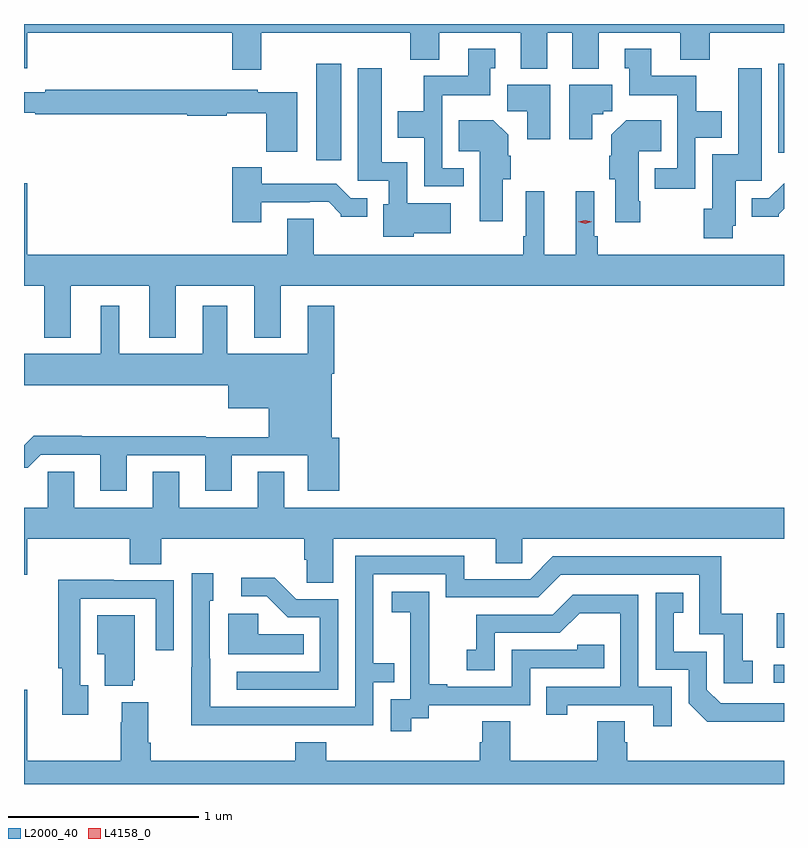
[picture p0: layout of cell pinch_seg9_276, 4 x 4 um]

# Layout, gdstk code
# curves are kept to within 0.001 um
import gdstk
lib = gdstk.Library(unit=1e-6, precision=1e-09)
def R(c, l, rs):  # rectangles x0, y0, x1, y1
    for r in rs: c.add(gdstk.rectangle(r[:2], r[2:], *l))
def P(c, l, *ps):  # polygons
    for p in ps: c.add(gdstk.Polygon(p, *l))
L2000_40 = (2000, 40)
L4158_0 = (4158, 0)

pinch_seg9_276 = lib.new_cell('pinch_seg9_276')
R(pinch_seg9_276, L2000_40, [(408.861,1167.69,408.916,1167.786), (408.878,1167.875,408.916,1168.057), (406.454,1170.441,406.585,1170.949), (408.887,1170.48,408.916,1170.949)])
P(pinch_seg9_276, L2000_40, [(406.165,1171.112),(406.949,1171.112),(406.949,1170.971),(407.101,1170.971),(407.101,1171.112),(407.531,1171.112),(407.531,1170.923),(407.671,1170.923),(407.671,1171.112),(407.801,1171.112),(407.801,1170.923),(407.941,1170.923),(407.941,1171.112),(408.371,1171.112),(408.371,1170.971),(408.524,1170.971),(408.524,1171.112),(408.916,1171.112),(408.916,1171.158),(404.916,1171.158),(404.916,1170.924),(404.932,1170.924),(404.932,1171.112),(406.013,1171.112),(406.013,1170.918),(406.165,1170.918)],
  [(407.23,1170.399),(407.118,1170.399),(407.118,1170.782),(407.371,1170.782),(407.371,1170.924),(407.395,1170.924),(407.395,1171.027),(407.255,1171.027),(407.255,1170.886),(407.02,1170.886),(407.02,1170.7),(406.883,1170.7),(406.883,1170.56),(407.022,1170.56),(407.022,1170.303),(407.23,1170.303)],
  [(408.45,1170.56),(408.589,1170.56),(408.589,1170.7),(408.453,1170.7),(408.453,1170.886),(408.217,1170.886),(408.217,1171.027),(408.077,1171.027),(408.077,1170.924),(408.101,1170.924),(408.101,1170.782),(408.354,1170.782),(408.354,1170.399),(408.237,1170.399),(408.237,1170.291),(408.45,1170.291)],
  [(408.645,1170.096),(408.661,1170.096),(408.661,1170.333),(408.799,1170.333),(408.799,1170.925),(408.674,1170.925),(408.674,1170.472),(408.539,1170.472),(408.539,1170.186),(408.493,1170.186),(408.493,1170.03),(408.645,1170.03)],
  [(406.968,1170.056),(407.161,1170.056),(407.161,1170.214),(406.932,1170.214),(406.932,1170.43),(406.798,1170.43),(406.798,1170.925),(406.673,1170.925),(406.673,1170.333),(406.836,1170.333),(406.836,1170.21),(406.808,1170.21),(406.808,1170.038),(406.968,1170.038)],
  [(407.908,1170.683),(407.964,1170.683),(407.964,1170.7),(408.013,1170.7),(408.013,1170.838),(407.786,1170.838),(407.786,1170.552),(407.908,1170.552)],
  [(407.686,1170.838),(407.459,1170.838),(407.459,1170.7),(407.564,1170.7),(407.564,1170.552),(407.686,1170.552)],
  [(406.354,1170.799),(406.146,1170.799),(406.146,1170.811),(405.028,1170.811),(405.028,1170.798),(404.916,1170.798),(404.916,1170.69),(404.974,1170.69),(404.974,1170.682),(405.774,1170.682),(405.774,1170.674),(405.984,1170.674),(405.984,1170.689),(406.192,1170.689),(406.192,1170.485),(406.354,1170.485)],
  [(408.159,1170.226),(408.151,1170.226),(408.151,1170.488),(408.269,1170.488),(408.269,1170.652),(408.086,1170.652),(408.008,1170.574),(408.008,1170.464),(407.996,1170.464),(407.996,1170.342),(408.029,1170.342),(408.029,1170.114),(408.159,1170.114)],
  [(407.437,1170.342),(407.477,1170.342),(407.477,1170.464),(407.464,1170.464),(407.464,1170.574),(407.386,1170.652),(407.203,1170.652),(407.203,1170.488),(407.315,1170.488),(407.315,1170.12),(407.437,1170.12)],
  [(406.165,1170.219),(406.421,1170.219),(406.421,1170.222),(406.52,1170.222),(406.584,1170.158),(406.584,1170.143),(406.723,1170.143),(406.723,1170.24),(406.635,1170.24),(406.559,1170.316),(406.168,1170.316),(406.168,1170.403),(406.013,1170.403),(406.013,1170.114),(406.165,1170.114)],
  [(405.163,1169.78),(405.575,1169.78),(405.575,1169.507),(405.715,1169.507),(405.715,1169.78),(406.127,1169.78),(406.127,1169.507),(406.267,1169.507),(406.267,1169.78),(408.916,1169.78),(408.916,1169.944),(407.936,1169.944),(407.936,1170.04),(407.916,1170.04),(407.916,1170.277),(407.819,1170.277),(407.819,1169.944),(407.653,1169.944),(407.653,1170.277),(407.556,1170.277),(407.556,1170.04),(407.544,1170.04),(407.544,1169.944),(406.441,1169.944),(406.441,1170.134),(406.301,1170.134),(406.301,1169.944),(404.932,1169.944),(404.932,1170.319),(404.916,1170.319),(404.916,1169.78),(405.023,1169.78),(405.023,1169.507),(405.163,1169.507)],
  [(408.888,1170.158),(408.916,1170.186),(408.916,1170.319),(408.837,1170.24),(408.746,1170.24),(408.746,1170.143),(408.888,1170.143)],
  [(405.457,1168.887),(405.869,1168.887),(405.869,1168.701),(406.009,1168.701),(406.009,1168.887),(406.409,1168.887),(406.409,1168.701),(406.574,1168.701),(406.574,1168.98),(406.537,1168.98),(406.537,1169.318),(406.55,1169.318),(406.55,1169.674),(406.409,1169.674),(406.409,1169.422),(405.985,1169.422),(405.985,1169.674),(405.857,1169.674),(405.857,1169.422),(405.418,1169.422),(405.418,1169.674),(405.32,1169.674),(405.32,1169.422),(404.916,1169.422),(404.916,1169.258),(405.992,1169.258),(405.992,1169.135),(406.205,1169.135),(406.205,1168.984),(405.873,1168.984),(405.873,1168.988),(405.221,1168.988),(405.221,1168.991),(404.966,1168.991),(404.916,1168.941),(404.916,1168.823),(404.936,1168.823),(405.003,1168.89),(405.317,1168.89),(405.317,1168.701),(405.457,1168.701)],
  [(406.543,1168.448),(407.399,1168.448),(407.399,1168.321),(407.538,1168.321),(407.538,1168.448),(408.916,1168.448),(408.916,1168.612),(406.285,1168.612),(406.285,1168.802),(406.145,1168.802),(406.145,1168.612),(405.733,1168.612),(405.733,1168.802),(405.593,1168.802),(405.593,1168.612),(405.181,1168.612),(405.181,1168.802),(405.042,1168.802),(405.042,1168.612),(404.916,1168.612),(404.916,1168.26),(404.932,1168.26),(404.932,1168.448),(405.473,1168.448),(405.473,1168.315),(405.638,1168.315),(405.638,1168.448),(406.391,1168.448),(406.391,1168.339),(406.404,1168.339),(406.404,1168.216),(406.543,1168.216)],
  [(406.259,1167.468),(406.755,1167.468),(406.755,1167.693),(406.865,1167.693),(406.865,1167.794),(406.755,1167.794),(406.755,1168.263),(407.136,1168.263),(407.136,1168.14),(407.622,1168.14),(407.742,1168.26),(408.471,1168.26),(408.471,1167.945),(408.6,1167.945),(408.6,1167.687),(408.751,1167.687),(408.751,1167.807),(408.698,1167.807),(408.698,1168.054),(408.587,1168.054),(408.587,1168.356),(407.7,1168.356),(407.58,1168.236),(407.233,1168.236),(407.233,1168.359),(406.659,1168.359),(406.659,1167.564),(405.895,1167.564),(405.894,1168.122),(405.913,1168.122),(405.913,1168.267),(405.798,1168.267),(405.798,1167.773),(405.796,1167.773),(405.796,1167.467)],
  [(406.569,1168.131),(406.35,1168.131),(406.237,1168.244),(406.059,1168.244),(406.059,1168.146),(406.193,1168.146),(406.304,1168.035),(406.473,1168.035),(406.473,1167.75),(406.035,1167.75),(406.035,1167.654),(406.569,1167.654)],
  [(405.253,1167.678),(405.213,1167.678),(405.213,1168.134),(405.609,1168.134),(405.609,1167.861),(405.705,1167.861),(405.705,1168.23),(405.389,1168.23),(405.389,1168.232),(405.097,1168.232),(405.097,1167.766),(405.116,1167.766),(405.116,1167.522),(405.253,1167.522)],
  [(406.954,1167.505),(407.046,1167.505),(407.046,1167.573),(407.58,1167.573),(407.58,1167.768),(407.969,1167.768),(407.969,1167.891),(407.829,1167.891),(407.829,1167.864),(407.484,1167.864),(407.484,1167.669),(407.143,1167.669),(407.143,1167.682),(407.048,1167.682),(407.048,1167.965),(407.049,1167.965),(407.049,1168.171),(406.851,1168.171),(406.851,1168.061),(406.949,1168.061),(406.949,1167.833),(406.95,1167.833),(406.95,1167.603),(406.845,1167.603),(406.845,1167.435),(406.954,1167.435)],
  [(408.916,1167.582),(408.582,1167.582),(408.51,1167.654),(408.51,1167.855),(408.337,1167.855),(408.337,1168.059),(408.386,1168.059),(408.386,1168.165),(408.24,1168.165),(408.24,1167.759),(408.414,1167.759),(408.414,1167.582),(408.512,1167.485),(408.916,1167.485)],
  [(408.324,1167.669),(408.15,1167.669),(408.15,1168.155),(407.804,1168.155),(407.699,1168.05),(407.296,1168.05),(407.296,1167.865),(407.247,1167.865),(407.247,1167.756),(407.394,1167.756),(407.394,1167.954),(407.736,1167.954),(407.84,1168.058),(408.054,1168.058),(408.054,1167.669),(407.665,1167.669),(407.665,1167.522),(407.776,1167.522),(407.776,1167.573),(408.227,1167.573),(408.227,1167.462),(408.324,1167.462)],
  [(406.388,1167.946),(406.149,1167.946),(406.149,1168.054),(405.992,1168.054),(405.992,1167.842),(406.388,1167.842)],
  [(405.488,1167.705),(405.499,1167.705),(405.499,1168.045),(405.302,1168.045),(405.302,1167.842),(405.341,1167.842),(405.341,1167.674),(405.488,1167.674)],
  [(408.092,1167.378),(408.079,1167.378),(408.079,1167.488),(407.932,1167.488),(407.932,1167.28),(407.475,1167.28),(407.475,1167.488),(407.327,1167.488),(407.327,1167.378),(407.315,1167.378),(407.315,1167.28),(406.508,1167.28),(406.508,1167.379),(406.343,1167.379),(406.343,1167.28),(405.584,1167.28),(405.584,1167.376),(405.571,1167.376),(405.571,1167.589),(405.431,1167.589),(405.431,1167.482),(405.424,1167.482),(405.424,1167.28),(404.932,1167.28),(404.932,1167.655),(404.916,1167.655),(404.916,1167.158),(408.916,1167.158),(408.916,1167.28),(408.092,1167.28)])
P(pinch_seg9_276, L4158_0, [(407.869,1170.106),(407.833,1170.116),(407.832,1170.116),(407.833,1170.116),(407.869,1170.126),(407.905,1170.116),(407.905,1170.116),(407.905,1170.116)])

lib.write_gds('pinch_seg9_276.gds')
